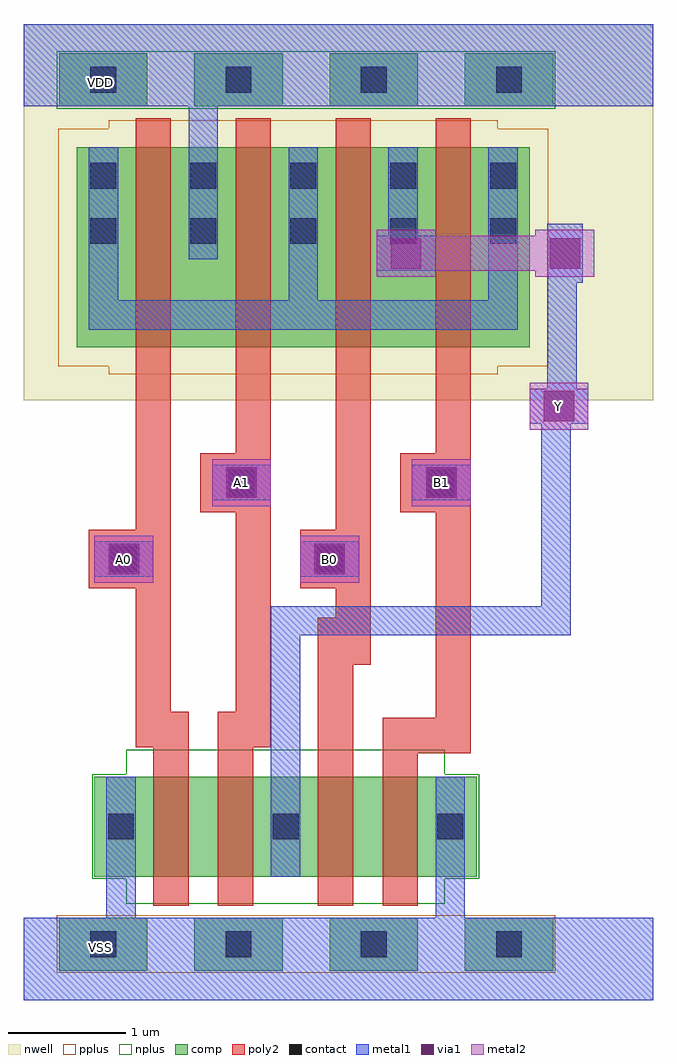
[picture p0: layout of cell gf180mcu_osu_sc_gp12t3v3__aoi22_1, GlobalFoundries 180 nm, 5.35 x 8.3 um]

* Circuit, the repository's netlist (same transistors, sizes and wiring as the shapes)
* Copyright 2022 Google LLC
*
* Licensed under the Apache License, Version 2.0 (the "License");
* you may not use this file except in compliance with the License.
* You may obtain a copy of the License at
*
*      http://www.apache.org/licenses/LICENSE-2.0
*
* Unless required by applicable law or agreed to in writing, software
* distributed under the License is distributed on an "AS IS" BASIS,
* WITHOUT WARRANTIES OR CONDITIONS OF ANY KIND, either express or implied.
* See the License for the specific language governing permissions and
* limitations under the License.

.option scale=0.05u

.subckt gf180mcu_osu_sc_gp12t3v3__aoi22_1 Y A0 A1 B0 B1
X0 a_9_109 B1 Y VDD pmos_3p3 w=34 l=6
X1 Y B0 a_9_109 VDD pmos_3p3 w=34 l=6
X2 a_9_109 A1 VDD VDD pmos_3p3 w=34 l=6
X3 VDD A0 a_9_109 VDD pmos_3p3 w=34 l=6
X4 a_56_19 B0 Y VSS nmos_3p3 w=17 l=6
X5 VSS B1 a_56_19 VSS nmos_3p3 w=17 l=6
X6 a_28_19 A0 VSS VSS nmos_3p3 w=17 l=6
X7 Y A1 a_28_19 VSS nmos_3p3 w=17 l=6
.ends

** hspice subcircuit dictionary

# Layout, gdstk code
import gdstk
lib = gdstk.Library(unit=1e-6, precision=1e-09)
def R(c, l, rs):  # rectangles x0, y0, x1, y1
    for r in rs: c.add(gdstk.rectangle(r[:2], r[2:], *l))
def A(c, l, x, y, w, h, nx, ny, dx, dy):  # array of equal rectangles
    R(c, l, [(x+i*dx, y+j*dy, x+i*dx+w, y+j*dy+h) for i in range(nx) for j in range(ny)])
nwell = (21, 0)
comp = (22, 0)
poly2 = (30, 0)
pplus = (31, 0)
nplus = (32, 0)
contact = (33, 0)
metal1 = (34, 0)
via1 = (35, 0)
metal2 = (36, 0)

gf180mcu_osu_sc_gp12t3v3 = lib.new_cell('gf180mcu_osu_sc_gp12t3v3__aoi22_1')
R(gf180mcu_osu_sc_gp12t3v3, nwell, [(0,5.1,5.35,8.3)])
A(gf180mcu_osu_sc_gp12t3v3, comp, 0.3, 0.25, 0.75, 0.45, 4, 2, 1.15, 7.35)
R(gf180mcu_osu_sc_gp12t3v3, comp, [(0.6,1.05,3.85,1.9), (0.45,5.55,4.3,7.25)])
R(gf180mcu_osu_sc_gp12t3v3, poly2, [(1.1,0.8,1.4,2.15), (1.65,0.8,1.95,2.15), (2.5,0.8,2.8,2.85), (3.05,0.8,3.35,2.1), (3.05,2.1,3.8,2.4), (0.95,2.15,1.4,2.45), (1.65,2.15,2.1,2.45), (3.5,2.4,3.8,4.15), (0.95,2.45,1.25,3.5), (1.8,2.45,2.1,4.15), (2.5,2.85,2.95,3.25), (2.65,3.25,2.95,3.5), (0.55,3.5,1.25,4), (2.35,3.5,2.95,4), (0.95,4,1.25,7.5), (2.65,4,2.95,7.5), (1.5,4.15,2.1,4.65), (3.2,4.15,3.8,4.65), (1.8,4.65,2.1,7.5), (3.5,4.65,3.8,7.5)])
R(gf180mcu_osu_sc_gp12t3v3, pplus, [(0.28,0.23,4.52,0.72), (0.72,5.32,4.03,5.39), (0.29,5.39,4.46,7.41), (0.72,7.41,4.03,7.48)])
R(gf180mcu_osu_sc_gp12t3v3, nplus, [(0.87,0.82,3.58,1.03), (0.58,1.03,3.87,1.92), (0.87,1.92,3.58,2.13), (0.28,7.58,4.52,8.07)])
A(gf180mcu_osu_sc_gp12t3v3, contact, 0.565, 0.365, 0.22, 0.22, 4, 2, 1.15, 7.35)
A(gf180mcu_osu_sc_gp12t3v3, contact, 0.715, 1.365, 0.22, 0.22, 3, 1, 1.4, 0)
A(gf180mcu_osu_sc_gp12t3v3, contact, 0.565, 6.43, 0.22, 0.22, 5, 2, 0.85, 0.47)
R(gf180mcu_osu_sc_gp12t3v3, contact, [(0.74,3.64,0.96,3.86), (2.49,3.64,2.71,3.86), (1.74,4.29,1.96,4.51), (3.44,4.29,3.66,4.51)])
A(gf180mcu_osu_sc_gp12t3v3, metal1, 0.55, 5.95, 0.25, 1.3, 3, 1, 1.7, 0)
R(gf180mcu_osu_sc_gp12t3v3, metal1, [(0,0,5.35,0.7), (0.7,0.7,0.95,1.9), (3.5,0.7,3.75,1.9), (2.1,1.05,2.35,3.1), (2.1,3.1,4.65,3.35), (4.4,3.35,4.65,4.9), (0.6,3.6,1.1,3.9), (2.35,3.6,2.85,3.9), (1.6,4.25,2.1,4.55), (3.3,4.25,3.8,4.55), (4.3,4.9,4.8,5.2), (4.45,5.2,4.7,6.1), (0.55,5.7,4.2,5.95), (4.45,6.1,4.75,6.6), (3,6.2,3.5,6.5), (1.4,6.3,1.65,7.6), (3.1,6.5,3.35,7.25), (0,7.6,5.35,8.3)])
R(gf180mcu_osu_sc_gp12t3v3, via1, [(0.72,3.62,0.98,3.88), (2.47,3.62,2.73,3.88), (1.72,4.27,1.98,4.53), (3.42,4.27,3.68,4.53), (4.42,4.92,4.68,5.18), (3.12,6.22,3.38,6.48), (4.47,6.22,4.73,6.48)])
R(gf180mcu_osu_sc_gp12t3v3, metal2, [(0.6,3.55,1.1,3.95), (2.35,3.55,2.85,3.95), (1.6,4.2,2.1,4.6), (3.3,4.2,3.8,4.6), (4.3,4.85,4.8,5.25), (3,6.15,3.5,6.2), (4.35,6.15,4.85,6.2), (3,6.2,4.85,6.5), (3,6.5,3.5,6.55), (4.35,6.5,4.85,6.55)])
gf180mcu_osu_sc_gp12t3v3.add(gdstk.Label('VDD', (0.65,7.8), layer=34, texttype=0))
gf180mcu_osu_sc_gp12t3v3.add(gdstk.Label('VSS', (0.65,0.45), layer=34, texttype=0))
gf180mcu_osu_sc_gp12t3v3.add(gdstk.Label('Y', (4.55,5.05), layer=36, texttype=10))
gf180mcu_osu_sc_gp12t3v3.add(gdstk.Label('A0', (0.85,3.75), layer=36, texttype=10))
gf180mcu_osu_sc_gp12t3v3.add(gdstk.Label('A1', (1.85,4.4), layer=36, texttype=10))
gf180mcu_osu_sc_gp12t3v3.add(gdstk.Label('B0', (2.6,3.75), layer=36, texttype=10))
gf180mcu_osu_sc_gp12t3v3.add(gdstk.Label('B1', (3.55,4.4), layer=36, texttype=10))

lib.write_gds('gf180mcu_osu_sc_gp12t3v3__aoi22_1.gds')
